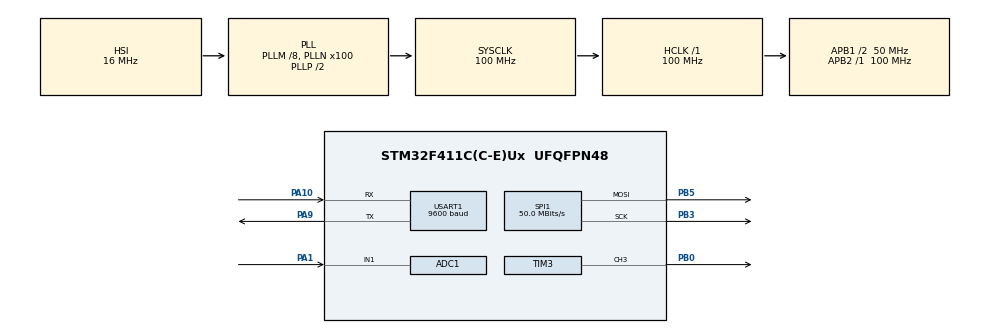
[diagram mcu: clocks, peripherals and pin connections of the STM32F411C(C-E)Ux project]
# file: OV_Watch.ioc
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ADC1.Channel-0\#ChannelRegularConversion=ADC_CHANNEL_1
ADC1.NbrOfConversionFlag=1
ADC1.Rank-0\#ChannelRegularConversion=1
ADC1.SamplingTime-0\#ChannelRegularConversion=ADC_SAMPLETIME_3CYCLES
ADC1.master=1
Dma.Request0=SPI1_TX
Dma.Request1=USART1_RX
Dma.Request2=USART1_TX
Dma.SPI1_TX.0.Direction=DMA_MEMORY_TO_PERIPH
Dma.SPI1_TX.0.FIFOMode=DMA_FIFOMODE_DISABLE
Dma.SPI1_TX.0.Instance=DMA2_Stream2
Dma.SPI1_TX.0.MemDataAlignment=DMA_MDATAALIGN_HALFWORD
Dma.SPI1_TX.0.MemInc=DMA_MINC_ENABLE
Dma.SPI1_TX.0.Mode=DMA_NORMAL
Dma.SPI1_TX.0.PeriphDataAlignment=DMA_PDATAALIGN_HALFWORD
Dma.SPI1_TX.0.PeriphInc=DMA_PINC_DISABLE
Dma.SPI1_TX.0.Priority=DMA_PRIORITY_LOW
Dma.USART1_RX.1.Direction=DMA_PERIPH_TO_MEMORY
Dma.USART1_RX.1.FIFOMode=DMA_FIFOMODE_DISABLE
Dma.USART1_RX.1.Instance=DMA2_Stream5
Dma.USART1_RX.1.MemDataAlignment=DMA_MDATAALIGN_BYTE
Dma.USART1_RX.1.MemInc=DMA_MINC_ENABLE
Dma.USART1_RX.1.Mode=DMA_NORMAL
Dma.USART1_RX.1.PeriphDataAlignment=DMA_PDATAALIGN_BYTE
Dma.USART1_RX.1.PeriphInc=DMA_PINC_DISABLE
Dma.USART1_RX.1.Priority=DMA_PRIORITY_LOW
Dma.USART1_TX.2.Direction=DMA_MEMORY_TO_PERIPH
Dma.USART1_TX.2.FIFOMode=DMA_FIFOMODE_DISABLE
Dma.USART1_TX.2.Instance=DMA2_Stream7
Dma.USART1_TX.2.MemDataAlignment=DMA_MDATAALIGN_BYTE
Dma.USART1_TX.2.MemInc=DMA_MINC_ENABLE
Dma.USART1_TX.2.Mode=DMA_NORMAL
Dma.USART1_TX.2.PeriphDataAlignment=DMA_PDATAALIGN_BYTE
Dma.USART1_TX.2.PeriphInc=DMA_PINC_DISABLE
Dma.USART1_TX.2.Priority=DMA_PRIORITY_LOW
FREERTOS.Tasks01=defaultTask,24,128,StartDefaultTask,Default,NULL,Dynamic,NULL,NULL
FREERTOS.configTOTAL_HEAP_SIZE=16*1024
FREERTOS.configUSE_IDLE_HOOK=0
FREERTOS.configUSE_TICK_HOOK=0
Mcu.Family=STM32F4
Mcu.Name=STM32F411C(C-E)Ux
Mcu.Package=UFQFPN48
NVIC.DMA2_Stream2_IRQn=true\:5\:0\:false\:false\:true\:true\:false\:true\:true
NVIC.DMA2_Stream5_IRQn=true\:5\:0\:false\:false\:true\:true\:false\:true\:true
NVIC.DMA2_Stream7_IRQn=true\:5\:0\:false\:false\:true\:true\:false\:true\:true
NVIC.PriorityGroup=NVIC_PRIORITYGROUP_4
NVIC.RTC_WKUP_IRQn=false\:5\:0\:false\:false\:true\:true\:true\:true\:true
NVIC.TIM1_UP_TIM10_IRQn=true\:15\:0\:false\:false\:true\:false\:false\:true\:true
NVIC.TimeBase=TIM1_UP_TIM10_IRQn
NVIC.TimeBaseIP=TIM1
NVIC.USART1_IRQn=true\:5\:0\:false\:false\:true\:true\:true\:true\:true
PA1.Signal=ADCx_IN1
PA10.Mode=Asynchronous
PA10.Signal=USART1_RX
PA13.Mode=Serial_Wire
PA13.Signal=SYS_JTMS-SWDIO
PA14.Mode=Serial_Wire
PA14.Signal=SYS_JTCK-SWCLK
PA9.Mode=Asynchronous
PA9.Signal=USART1_TX
PB0.Signal=S_TIM3_CH3
PB3.Mode=TX_Only_Simplex_Unidirect_Master
PB3.Signal=SPI1_SCK
PB5.Mode=TX_Only_Simplex_Unidirect_Master
PB5.Signal=SPI1_MOSI
PC14-OSC32_IN.Mode=LSE-External-Oscillator
PC14-OSC32_IN.Signal=RCC_OSC32_IN
PC15-OSC32_OUT.Mode=LSE-External-Oscillator
PC15-OSC32_OUT.Signal=RCC_OSC32_OUT
ProjectManager.HeapSize=0x200
ProjectManager.StackSize=0x400
ProjectManager.TargetToolchain=MDK-ARM V5.32
RCC.48MHZClocksFreq_Value=50000000
RCC.AHBFreq_Value=100000000
RCC.APB1CLKDivider=RCC_HCLK_DIV2
RCC.APB1Freq_Value=50000000
RCC.APB1TimFreq_Value=100000000
RCC.APB2Freq_Value=100000000
RCC.APB2TimFreq_Value=100000000
RCC.CortexFreq_Value=100000000
RCC.HCLKFreq_Value=100000000
RCC.HSE_VALUE=25000000
RCC.HSI_VALUE=16000000
RCC.PLLM=8
RCC.PLLN=100
RCC.RCC_RTC_Clock_Source=RCC_RTCCLKSOURCE_LSI
RCC.RCC_RTC_Clock_SourceVirtual=RCC_RTCCLKSOURCE_LSE
RCC.SYSCLKFreq_VALUE=100000000
RCC.SYSCLKSource=RCC_SYSCLKSOURCE_PLLCLK
RCC.VCOOutputFreq_Value=200000000
RTC.Date=21
RTC.Hours=11
RTC.Minutes=59
RTC.Month=RTC_MONTH_MAY
RTC.Seconds=55
RTC.WeekDay=RTC_WEEKDAY_SUNDAY
RTC.Year=23
SH.ADCx_IN1.0=ADC1_IN1,IN1
SH.S_TIM3_CH3.0=TIM3_CH3,PWM Generation3 CH3
SPI1.CLKPhase=SPI_PHASE_2EDGE
SPI1.CLKPolarity=SPI_POLARITY_HIGH
SPI1.CalculateBaudRate=50.0 MBits/s
SPI1.Direction=SPI_DIRECTION_2LINES
SPI1.Mode=SPI_MODE_MASTER
SPI1.VirtualType=VM_MASTER
TIM3.Channel-PWM\ Generation3\ CH3=TIM_CHANNEL_3
TIM3.Period=300
TIM3.Prescaler=99
USART1.BaudRate=9600
USART1.VirtualMode=VM_ASYNC
VP_FREERTOS_VS_CMSIS_V2.Mode=CMSIS_V2
VP_RTC_VS_RTC_Activate.Mode=RTC_Enabled
VP_RTC_VS_RTC_Calendar.Mode=RTC_Calendar
VP_SYS_VS_tim1.Mode=TIM1
board=custom

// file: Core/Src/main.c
/* USER CODE BEGIN Header */
/**
  ******************************************************************************
  * @file           : main.c
  * @brief          : Main program body
  ******************************************************************************
  * @attention
  *
  * Copyright (c) 2023 STMicroelectronics.
  * All rights reserved.
  *
  * This software is licensed under terms that can be found in the LICENSE file
  * in the root directory of this software component.
  * If no LICENSE file comes with this software, it is provided AS-IS.
  *
  ******************************************************************************
  */
/* USER CODE END Header */
#include "main.h"
#include "cmsis_os.h"
#include "adc.h"
#include "dma.h"
#include "rtc.h"
#include "spi.h"
#include "tim.h"
#include "usart.h"
#include "gpio.h"

/* USER CODE BEGIN Includes */
#include "lcd.h"
#include "lcd_init.h"
#include "delay.h"
/* USER CODE END Includes */

void SystemClock_Config(void);
void MX_FREERTOS_Init(void);

int main(void)
{

  /* USER CODE BEGIN 1 */
	/* Must match the APP load address configured in the Keil target. */
	SCB->VTOR = 0x08010000U;
  /* USER CODE END 1 */

  /* MCU Configuration--------------------------------------------------------*/

  /* Reset of all peripherals, Initializes the Flash interface and the Systick. */
  HAL_Init();

  /* Configure the system clock */
  SystemClock_Config();

  /* USER CODE BEGIN SysInit */
	__enable_irq();
  /* USER CODE END SysInit */

  /* Initialize all configured peripherals */
  MX_GPIO_Init();
  MX_DMA_Init();
  MX_ADC1_Init();
  MX_RTC_Init();
  MX_SPI1_Init();
  MX_TIM3_Init();
  MX_USART1_UART_Init();
  /* USER CODE BEGIN 2 */
//	LCD_Init();
//	 HAL_TIM_PWM_Start(&htim2,TIM_CHANNEL_1);//��Ļ�޷���ʾ�������Դ
//    LCD_Fill(0,0, LCD_W, LCD_H, RED);
//    HAL_Delay(10);
//    LCD_Set_Light(50);
//    LCD_ShowString(72,LCD_H/2,(uint8_t*)"Welcome", WHITE, BLACK, 24, 0);//12*6,16*8,24*12,32*16
//    uint8_t lcd_buf_str[17];
//
//    LCD_ShowString(34, LCD_H/2+48, (uint8_t*)lcd_buf_str, WHITE, BLACK, 24, 0);
//    HAL_Delay(1000);
//    LCD_Fill(0, LCD_H/2-24, LCD_W, LCD_H/2+49, BLACK);
//
  /* USER CODE END 2 */

  /* Init scheduler */
  osKernelInitialize();

  /* Call init function for freertos objects (in cmsis_os2.c) */
  MX_FREERTOS_Init();

  /* Start scheduler */
  osKernelStart();

  /* We should never get here as control is now taken by the scheduler */

  /* Infinite loop */
  while (1)
  {

  }
}

void SystemClock_Config(void)
{
  RCC_OscInitTypeDef RCC_OscInitStruct = {0};
  RCC_ClkInitTypeDef RCC_ClkInitStruct = {0};

  /** Configure the main internal regulator output voltage
  */
  __HAL_RCC_PWR_CLK_ENABLE();
  __HAL_PWR_VOLTAGESCALING_CONFIG(PWR_REGULATOR_VOLTAGE_SCALE1);

  /** Initializes the RCC Oscillators according to the specified parameters
  * in the RCC_OscInitTypeDef structure.
  */
  RCC_OscInitStruct.OscillatorType = RCC_OSCILLATORTYPE_HSI|RCC_OSCILLATORTYPE_LSI;
  RCC_OscInitStruct.HSIState = RCC_HSI_ON;
  RCC_OscInitStruct.HSICalibrationValue = RCC_HSICALIBRATION_DEFAULT;
  RCC_OscInitStruct.LSIState = RCC_LSI_ON;
  RCC_OscInitStruct.PLL.PLLState = RCC_PLL_ON;
  RCC_OscInitStruct.PLL.PLLSource = RCC_PLLSOURCE_HSI;
  RCC_OscInitStruct.PLL.PLLM = 8;
  RCC_OscInitStruct.PLL.PLLN = 100;
  RCC_OscInitStruct.PLL.PLLP = RCC_PLLP_DIV2;
  RCC_OscInitStruct.PLL.PLLQ = 4;
  if (HAL_RCC_OscConfig(&RCC_OscInitStruct) != HAL_OK)
  {
    Error_Handler();
  }

  /** Initializes the CPU, AHB and APB buses clocks
  */
  RCC_ClkInitStruct.ClockType = RCC_CLOCKTYPE_HCLK|RCC_CLOCKTYPE_SYSCLK
                              |RCC_CLOCKTYPE_PCLK1|RCC_CLOCKTYPE_PCLK2;
  RCC_ClkInitStruct.SYSCLKSource = RCC_SYSCLKSOURCE_PLLCLK;
  RCC_ClkInitStruct.AHBCLKDivider = RCC_SYSCLK_DIV1;
  RCC_ClkInitStruct.APB1CLKDivider = RCC_HCLK_DIV2;
  RCC_ClkInitStruct.APB2CLKDivider = RCC_HCLK_DIV1;

  if (HAL_RCC_ClockConfig(&RCC_ClkInitStruct, FLASH_LATENCY_3) != HAL_OK)
  {
    Error_Handler();
  }
}

void HAL_TIM_PeriodElapsedCallback(TIM_HandleTypeDef *htim)
{
  if (htim->Instance == TIM1) {
    HAL_IncTick();
  }
}

void Error_Handler(void)
{
  __disable_irq();
  while (1)
  {
  }
}

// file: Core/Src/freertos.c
/* USER CODE BEGIN Header */
/**
  ******************************************************************************
  * File Name          : freertos.c
  * Description        : Code for freertos applications
  ******************************************************************************
  * @attention
  *
  * Copyright (c) 2023 STMicroelectronics.
  * All rights reserved.
  *
  * This software is licensed under terms that can be found in the LICENSE file
  * in the root directory of this software component.
  * If no LICENSE file comes with this software, it is provided AS-IS.
  *
  ******************************************************************************
  */
/* USER CODE END Header */

#include "FreeRTOS.h"
#include "task.h"
#include "main.h"
#include "cmsis_os.h"

/* USER CODE BEGIN Includes */
#include "user_TasksInit.h"
#include "tim.h"
/* USER CODE END Includes */

/* Definitions for defaultTask
 *
 * This CubeMX demonstration task only toggles the status LED. It is not part
 * of the watch task architecture, so it remains disabled for this project.
 */
#if 0
osThreadId_t defaultTaskHandle;
const osThreadAttr_t defaultTask_attributes = {
  .name = "defaultTask",
  .stack_size = 128 * 4,
  .priority = (osPriority_t) osPriorityNormal,
};
#endif

#if 0
void StartDefaultTask(void *argument);
#endif

void MX_FREERTOS_Init(void); /* (MISRA C 2004 rule 8.1) */

/* Hook prototypes */
void vApplicationIdleHook(void);
void vApplicationTickHook(void);

/* USER CODE BEGIN 2 */
extern TIM_HandleTypeDef htim1;

void LowPower_PreSleepProcessing(uint32_t expected_idle_ticks)
{
   (void)expected_idle_ticks;
   HAL_SuspendTick();
   __HAL_TIM_CLEAR_FLAG(&htim1, TIM_FLAG_UPDATE);
   HAL_NVIC_ClearPendingIRQ(TIM1_UP_TIM10_IRQn);
}

void LowPower_PostSleepProcessing(uint32_t expected_idle_ticks)
{
   (void)expected_idle_ticks;
   HAL_ResumeTick();
}

void vApplicationIdleHook( void )
{
   /* vApplicationIdleHook() will only be called if configUSE_IDLE_HOOK is set
   to 1 in FreeRTOSConfig.h. It will be called on each iteration of the idle
   task. It is essential that code added to this hook function never attempts
   to block in any way (for example, call xQueueReceive() with a block time
   specified, or call vTaskDelay()). If the application makes use of the
   vTaskDelete() API function (as this demo application does) then it is also
   important that vApplicationIdleHook() is permitted to return to its calling
   function, because it is the responsibility of the idle task to clean up
   memory allocated by the kernel to any task that has since been deleted. */
}
/* USER CODE END 2 */

/* USER CODE BEGIN 3 */
void vApplicationTickHook( void )
{
   /* This function will be called by each tick interrupt if
   configUSE_TICK_HOOK is set to 1 in FreeRTOSConfig.h. User code can be
   added here, but the tick hook is called from an interrupt context, so
   code must not attempt to block, and only the interrupt safe FreeRTOS API
   functions can be used (those that end in FromISR()). */
	TaskTickHook();
}
/* USER CODE END 3 */

void MX_FREERTOS_Init(void) {
  /* USER CODE BEGIN Init */
	User_Tasks_Init();
  /* USER CODE END Init */

  /* Create the thread(s) */
  /* CubeMX default LED-blink task: not used by the watch application. */
#if 0
  defaultTaskHandle = osThreadNew(StartDefaultTask, NULL, &defaultTask_attributes);
#endif

}

/* The generated LED blink task is retained only as disabled reference code;
 * User_Tasks_Init() owns all application tasks. */
#if 0
void StartDefaultTask(void *argument)
{
  /* USER CODE BEGIN StartDefaultTask */
  /* Infinite loop */
  for(;;)
  {
		HAL_GPIO_TogglePin(GPIOC, GPIO_PIN_13);
    osDelay(500);
  }
  /* USER CODE END StartDefaultTask */
}
#endif
